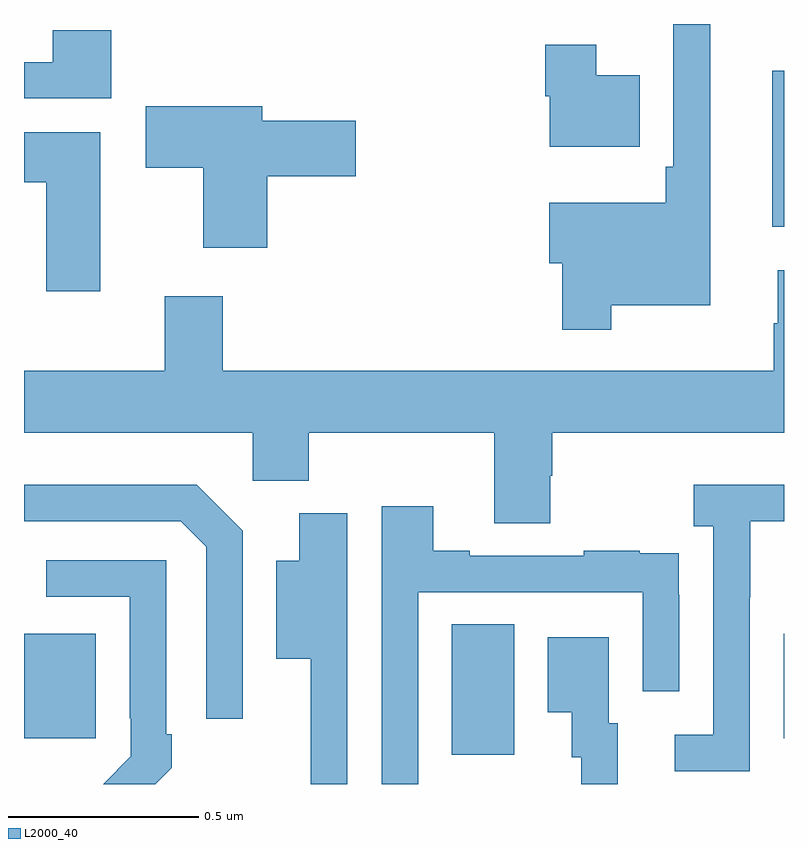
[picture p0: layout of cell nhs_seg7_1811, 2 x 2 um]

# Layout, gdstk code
import gdstk
lib = gdstk.Library(unit=1e-6, precision=1e-09)
def R(c, l, rs):  # rectangles x0, y0, x1, y1
    for r in rs: c.add(gdstk.rectangle(r[:2], r[2:], *l))
def P(c, l, *ps):  # polygons
    for p in ps: c.add(gdstk.Polygon(p, *l))
L2000_40 = (2000, 40)

nhs_seg7_1811 = lib.new_cell('nhs_seg7_1811')
R(nhs_seg7_1811, L2000_40, [(137.126,1025.077,137.29,1025.42), (136.001,1025.121,136.189,1025.395), (137.999,1025.121,138,1025.395), (137.969,1026.467,138,1026.877)])
P(nhs_seg7_1811, L2000_40, [(137.545,1026.26),(137.806,1026.26),(137.806,1027),(137.709,1027),(137.709,1026.625),(137.689,1026.625),(137.689,1026.529),(137.382,1026.529),(137.382,1026.371),(137.416,1026.371),(137.416,1026.195),(137.545,1026.195)],
  [(136.229,1026.983),(136.076,1026.983),(136.076,1026.9),(136,1026.9),(136,1026.804),(136.229,1026.804)],
  [(137.62,1026.865),(137.506,1026.865),(137.506,1026.946),(137.372,1026.946),(137.372,1026.81),(137.384,1026.81),(137.384,1026.677),(137.62,1026.677)],
  [(136.64,1026.599),(136.873,1026.599),(136.873,1026.746),(136.627,1026.746),(136.627,1026.784),(136.32,1026.784),(136.32,1026.622),(136.472,1026.622),(136.472,1026.411),(136.64,1026.411)],
  [(136.201,1026.715),(136,1026.715),(136,1026.584),(136.058,1026.584),(136.058,1026.297),(136.201,1026.297)],
  [(137.385,1025.811),(137.39,1025.811),(137.39,1025.924),(138,1025.924),(138,1026.352),(137.984,1026.352),(137.984,1026.212),(137.973,1026.212),(137.973,1026.088),(136.523,1026.088),(136.523,1026.283),(136.37,1026.283),(136.37,1026.088),(136,1026.088),(136,1025.924),(136.602,1025.924),(136.602,1025.798),(136.749,1025.798),(136.749,1025.924),(137.237,1025.924),(137.237,1025.686),(137.385,1025.686)],
  [(136.575,1025.667),(136.454,1025.788),(136,1025.788),(136,1025.691),(136.413,1025.691),(136.479,1025.625),(136.479,1025.172),(136.575,1025.172)],
  [(137.91,1025.491),(137.911,1025.491),(137.911,1025.691),(138,1025.691),(138,1025.788),(137.763,1025.788),(137.763,1025.678),(137.814,1025.678),(137.814,1025.13),(137.712,1025.13),(137.712,1025.034),(137.91,1025.034)],
  [(137.037,1025.505),(137.628,1025.505),(137.628,1025.244),(137.724,1025.244),(137.724,1025.498),(137.723,1025.498),(137.723,1025.607),(137.621,1025.607),(137.621,1025.614),(137.473,1025.614),(137.473,1025.601),(137.173,1025.601),(137.173,1025.614),(137.077,1025.614),(137.077,1025.731),(136.941,1025.731),(136.941,1025),(137.037,1025)],
  [(136.851,1025.713),(136.724,1025.713),(136.724,1025.587),(136.664,1025.587),(136.664,1025.33),(136.754,1025.33),(136.754,1025),(136.851,1025)],
  [(136.389,1025.043),(136.389,1025.131),(136.374,1025.131),(136.374,1025.589),(136.059,1025.589),(136.059,1025.493),(136.278,1025.493),(136.278,1025.173),(136.281,1025.173),(136.281,1025.073),(136.208,1025),(136.346,1025)],
  [(137.563,1025.16),(137.539,1025.16),(137.539,1025.386),(137.378,1025.386),(137.378,1025.189),(137.441,1025.189),(137.441,1025.07),(137.466,1025.07),(137.466,1025),(137.563,1025)])

lib.write_gds('nhs_seg7_1811.gds')
